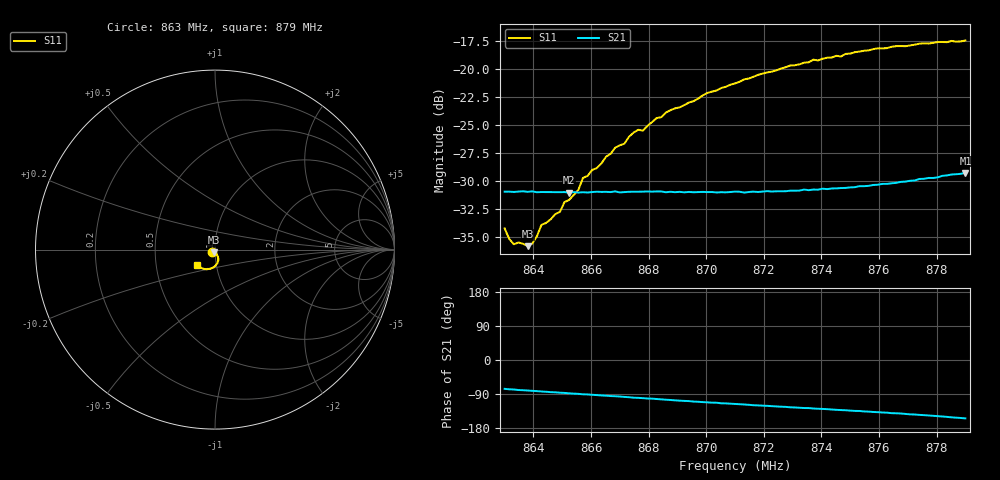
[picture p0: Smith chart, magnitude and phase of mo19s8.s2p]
# HZ S RI R 50
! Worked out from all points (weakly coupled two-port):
!   101 points, 863 MHz to 879 MHz, reference 50 ohm
!   highest |S21| = -29.26 dB at 879 MHz (marker M1); lowest = -31.0 dB at 865.24 MHz (marker M2)
!   lowest |S11| = -35.8 dB at 863.8 MHz (marker M3), VSWR 1.03, Z = 49.5 - j1.54 ohm
!   |S11| at or under -10 dB: start of sweep to end of sweep
!   S12 and S22 are empty: the file has one direction only
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8.63e8  -0.0141 -0.0135  0.00681 -0.0275  0 0  0 0
8.6316e8  -0.0108 -0.0137  0.00626 -0.0277  0 0  0 0
8.6332e8  -0.00925 -0.0137  0.00598 -0.0276  0 0  0 0
8.638e8  -0.0045 -0.0156  0.00464 -0.0279  0 0  0 0
8.6396e8  -0.00295 -0.0164  0.00429 -0.0281  0 0  0 0
8.6428e8  0.00102 -0.0201  0.0034 -0.0281  0 0  0 0
8.6492e8  0.00502 -0.0225  0.00182 -0.0282  0 0  0 0
8.6508e8  0.0084 -0.0241  0.00155 -0.0282  0 0  0 0
8.6524e8  0.00783 -0.0249  0.00101 -0.0281  0 0  0 0
8.6556e8  0.00878 -0.0275  0.000317 -0.0281  0 0  0 0
8.6572e8  0.0109 -0.0308  -0.000245 -0.0282  0 0  0 0
8.662e8  0.0128 -0.0338  -0.0013 -0.0283  0 0  0 0
8.6684e8  0.0157 -0.0417  -0.0028 -0.0283  0 0  0 0
8.6716e8  0.0168 -0.0433  -0.00364 -0.028  0 0  0 0
8.6748e8  0.0177 -0.049  -0.00468 -0.028  0 0  0 0
8.678e8  0.0183 -0.0498  -0.00526 -0.0279  0 0  0 0
8.6844e8  0.017 -0.0586  -0.00683 -0.0276  0 0  0 0
8.7004e8  0.0119 -0.0773  -0.0105 -0.0262  0 0  0 0
8.71e8  0.00473 -0.0862  -0.0124 -0.0255  0 0  0 0
8.7372e8  -0.0251 -0.1073  -0.0178 -0.0229  0 0  0 0
8.7644e8  -0.0669 -0.1065  -0.0238 -0.0198  0 0  0 0
8.79e8  -0.1024 -0.0867  -0.031 -0.0151  0 0  0 0
